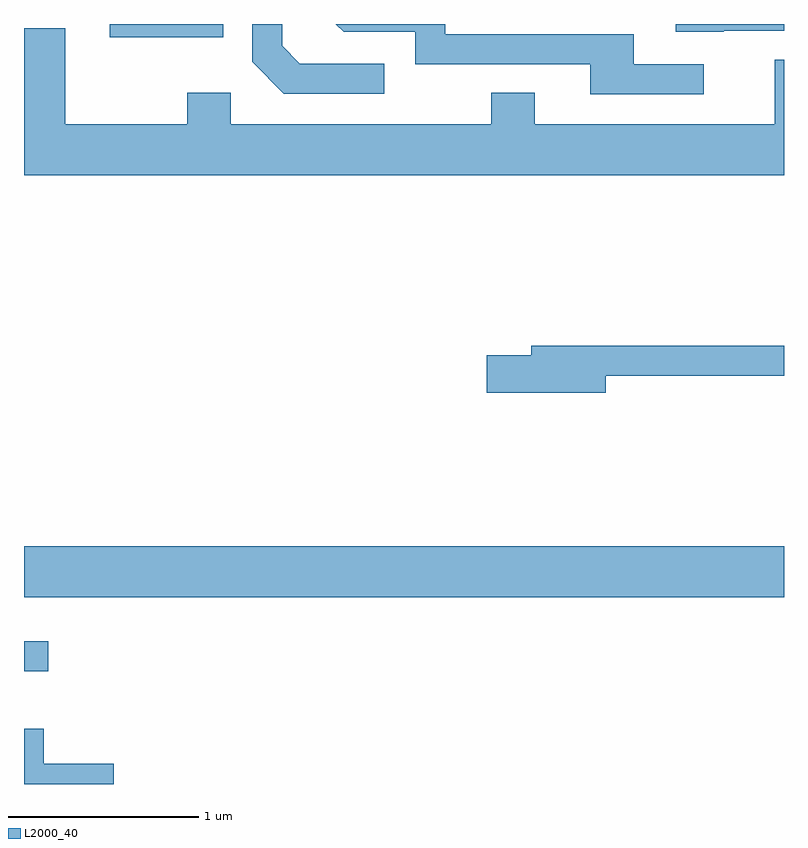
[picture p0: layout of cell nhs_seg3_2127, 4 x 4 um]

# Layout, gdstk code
import gdstk
lib = gdstk.Library(unit=1e-6, precision=1e-09)
def R(c, l, rs):  # rectangles x0, y0, x1, y1
    for r in rs: c.add(gdstk.rectangle(r[:2], r[2:], *l))
def P(c, l, *ps):  # polygons
    for p in ps: c.add(gdstk.Polygon(p, *l))
L2000_40 = (2000, 40)

nhs_seg3_2127 = lib.new_cell('nhs_seg3_2127')
R(nhs_seg3_2127, L2000_40, [(247.611,1154.486,247.738,1154.644), (247.611,1154.876,251.611,1155.144), (248.061,1157.821,248.659,1157.892)])
P(nhs_seg3_2127, L2000_40, [(249.508,1157.684),(249.062,1157.684),(248.969,1157.777),(248.969,1157.892),(248.811,1157.892),(248.811,1157.694),(248.979,1157.526),(249.508,1157.526)],
  [(251.295,1157.856),(251.611,1157.856),(251.611,1157.892),(251.041,1157.892),(251.041,1157.851),(251.295,1157.851)],
  [(251.188,1157.679),(250.819,1157.679),(250.819,1157.839),(249.829,1157.839),(249.829,1157.892),(249.253,1157.892),(249.294,1157.851),(249.671,1157.851),(249.671,1157.681),(250.591,1157.681),(250.591,1157.521),(251.188,1157.521)],
  [(251.611,1157.704),(251.561,1157.704),(251.561,1157.364),(250.299,1157.364),(250.299,1157.529),(250.071,1157.529),(250.071,1157.364),(248.699,1157.364),(248.699,1157.529),(248.471,1157.529),(248.471,1157.364),(247.829,1157.364),(247.829,1157.869),(247.611,1157.869),(247.611,1157.096),(251.611,1157.096)],
  [(250.674,1156.041),(251.611,1156.041),(251.611,1156.199),(250.281,1156.199),(250.281,1156.149),(250.046,1156.149),(250.046,1155.951),(250.674,1155.951)],
  [(248.084,1153.999),(247.714,1153.999),(247.714,1154.184),(247.611,1154.184),(247.611,1153.892),(248.084,1153.892)])

lib.write_gds('nhs_seg3_2127.gds')
